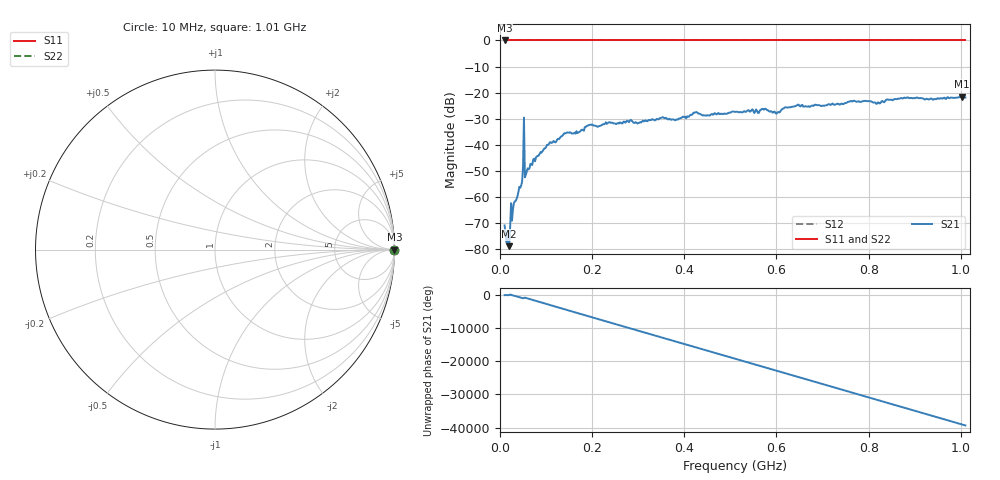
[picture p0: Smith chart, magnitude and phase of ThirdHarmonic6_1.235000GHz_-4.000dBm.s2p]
! 8/16/2025 1:04:08 PM
! C:\ANRITSUVNA\TEMP\TEMP.S2P
! CHANNEL.1
! TR.MEASUREMENT
! RAW.DATA
! RF.CORRECTION.OFF
! AVERAGING.OFF
! IF.BANDWIDTH: 5KHZ
! SWEEPTYPE:  FREQ.SWEEP(Linear)
! Reference Plane Port Info
! PORT:  PORT1  PORT2
! DISTANCE:  0  m  0  m
! TIME:  0  s  0  s
! PHASE.OFFSET:  0  deg.  0  deg.
! LOSS:  0  dB  0  dB
! REF.LOSS:  0  dB  0  dB
! REF.FREQ:  0  Hz  0  Hz
! Power Info
! POWER:  -20  dBm  -20  dBm
! EFF.POWER:  -20  dBm  -20  dBm
! SOURCE.ATTEN:  0  dB  0  dB
! TEST.ATTEN:  0  dB  0  dB
# GHZ S RI R 50.0
! FREQ.GHZ  S11RE  S11IM  S21RE  S21IM  S12RE  S12IM  S22RE  S22IM
!; PortSelection: Port_12
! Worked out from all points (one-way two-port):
!   501 points, 10 MHz to 1.01 GHz, reference 50 ohm
!   highest |S21| = -21.48 dB at 1.002 GHz (marker M1); lowest = -78.8 dB at 20 MHz (marker M2)
!   lowest |S11| = 0.0 dB at 10 MHz (marker M3)
!   |S11| at or under -10 dB: nowhere
!   |S22| runs from 0.0 to 0.0 dB; largest |S21 - S12| = 1.1
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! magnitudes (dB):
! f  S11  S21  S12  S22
! 10 MHz  0.0  -70.8  0.0  0.0
! 16 MHz  0.0  -77.3  0.0  0.0
! 20 MHz  0.0  -78.8  0.0  0.0
! 28 MHz  0.0  -64.8  0.0  0.0
! 44 MHz  0.0  -56.4  0.0  0.0
! 46 MHz  0.0  -55.5  0.0  0.0
! 48 MHz  0.0  -54.0  0.0  0.0
! 54 MHz  0.0  -52.4  0.0  0.0
! 56 MHz  0.0  -51.5  0.0  0.0
! 58 MHz  0.0  -50.1  0.0  0.0
! 106 MHz  0.0  -39.7  0.0  0.0
! 142 MHz  0.0  -35.6  0.0  0.0
! 178 MHz  0.0  -34.2  0.0  0.0
! 196 MHz  0.0  -32.3  0.0  0.0
! 344 MHz  0.0  -30.2  0.0  0.0
! 510 MHz  0.0  -27.3  0.0  0.0
! 602 MHz  0.0  -27.6  0.0  0.0
! 620 MHz  0.0  -25.6  0.0  0.0
! 678 MHz  0.0  -24.9  0.0  0.0
! 844 MHz  0.0  -22.7  0.0  0.0
! 1.002 GHz  0.0  -21.5  0.0  0.0
! 1.01 GHz  0.0  -21.9  0.0  0.0
